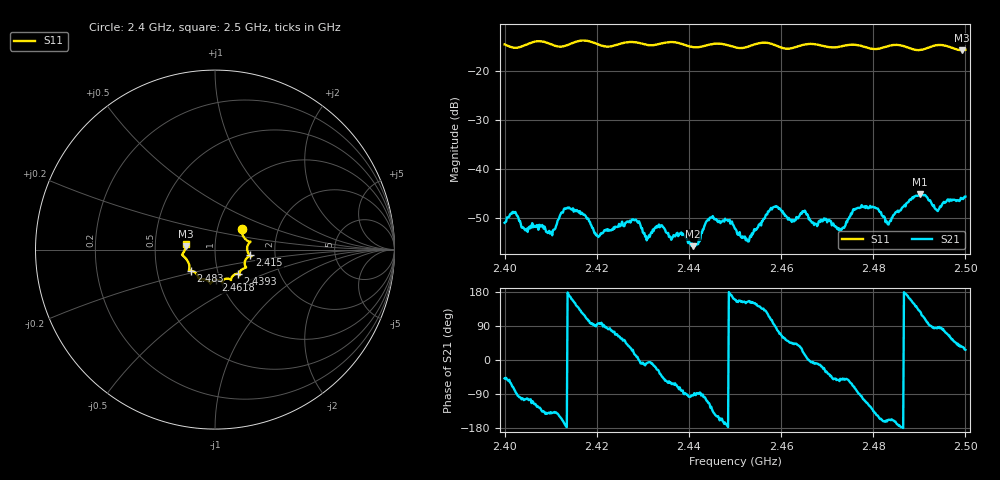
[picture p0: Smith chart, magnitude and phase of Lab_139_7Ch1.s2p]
# Hz S RI R 50
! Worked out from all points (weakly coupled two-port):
!   601 points, 2.4 GHz to 2.5 GHz, reference 50 ohm
!   highest |S21| = -45.14 dB at 2.4902 GHz (marker M1); lowest = -55.8 dB at 2.4408 GHz (marker M2)
!   lowest |S11| = -15.7 dB at 2.4992 GHz (marker M3), VSWR 1.39, Z = 35.9 + j1.36 ohm
!   |S11| at or under -10 dB: start of sweep to end of sweep
!   S12 and S22 are empty: the file has one direction only
!   S11 on the Smith chart (normalised r, x): 2.4 GHz: 1.31, +0.31; 2.415 GHz: 1.48, -0.10; 2.4393 GHz: 1.23, -0.35; 2.4618 GHz: 0.95, -0.33; 2.483 GHz: 0.74, -0.18; 2.5 GHz: 0.72, +0.05
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2.4e9  0.1503 0.1134  0.00187 -0.00212  0 0  0 0
2.409833e9  0.188 0.0335  -0.0017 -0.00137  0 0  0 0
2.415e9  0.1943 -0.0319  -0.00329 0.0016  0 0  0 0
2.416667e9  0.203 -0.0377  -0.00209 0.0029  0 0  0 0
2.420167e9  0.1854 -0.0401  -0.000202 0.00205  0 0  0 0
2.433333e9  0.1365 -0.1313  0.00235 -0.00117  0 0  0 0
2.439333e9  0.1255 -0.1353  3.26e-05 -0.00199  0 0  0 0
2.440833e9  0.1114 -0.1375  -0.000105 -0.00162  0 0  0 0
2.444667e9  0.0891 -0.1663  -0.00187 -0.00259  0 0  0 0
2.45e9  0.0696 -0.1619  -0.00228 0.000882  0 0  0 0
2.452833e9  0.043 -0.1735  -0.00164 0.000779  0 0  0 0
2.458667e9  0.0392 -0.1814  -6.7e-06 0.00412  0 0  0 0
2.461833e9  0.00409 -0.1709  0.00211 0.00219  0 0  0 0
2.466667e9  -0.026 -0.1888  0.00281 -0.000286  0 0  0 0
2.473e9  -0.0717 -0.1648  0.00148 -0.00186  0 0  0 0
2.478e9  -0.0933 -0.1524  -0.00103 -0.00393  0 0  0 0
2.483e9  -0.1357 -0.1183  -0.00269 -0.000875  0 0  0 0
2.483333e9  -0.1385 -0.1181  -0.0025 -0.00103  0 0  0 0
2.490167e9  -0.1516 -0.0653  -0.00338 0.00438  0 0  0 0
2.493833e9  -0.1827 -0.0311  0.000432 0.00375  0 0  0 0
2.499167e9  -0.1634 0.0184  0.00408 0.00291  0 0  0 0
2.5e9  -0.1632 0.0333  0.00466 0.00236  0 0  0 0
